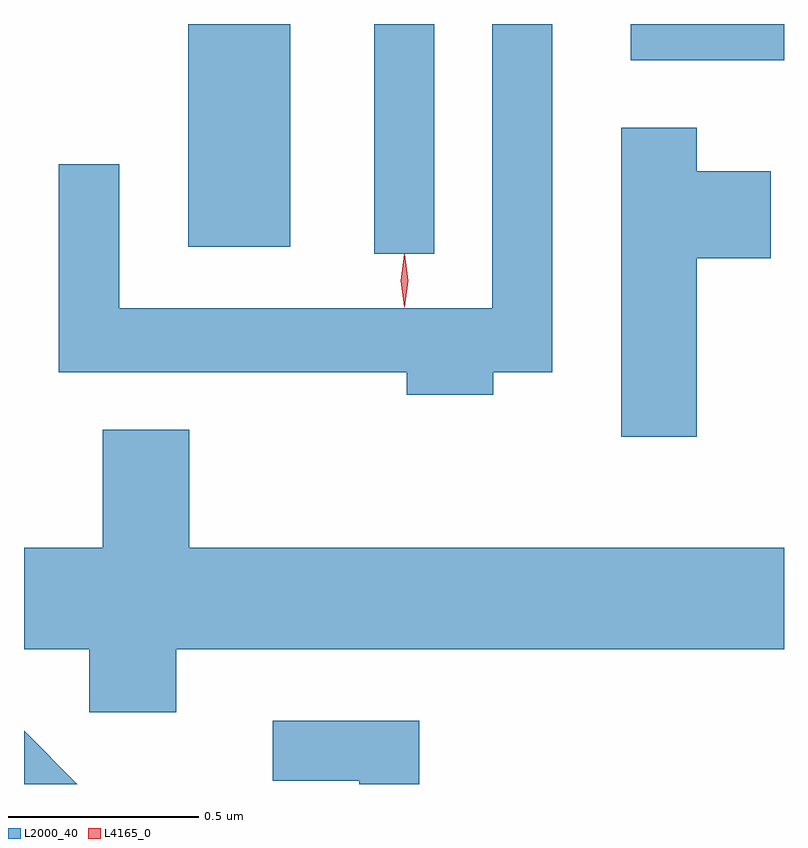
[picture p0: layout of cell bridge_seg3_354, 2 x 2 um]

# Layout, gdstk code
import gdstk
lib = gdstk.Library(unit=1e-6, precision=1e-09)
def R(c, l, rs):  # rectangles x0, y0, x1, y1
    for r in rs: c.add(gdstk.rectangle(r[:2], r[2:], *l))
def P(c, l, *ps):  # polygons
    for p in ps: c.add(gdstk.Polygon(p, *l))
L2000_40 = (2000, 40)
L4165_0 = (4165, 0)

bridge_seg3_354 = lib.new_cell('bridge_seg3_354')
R(bridge_seg3_354, L2000_40, [(541.356,1127.058,541.514,1127.662), (540.866,1127.076,541.134,1127.662), (542.031,1127.566,542.434,1127.662)])
P(bridge_seg3_354, L2000_40, [(541.669,1126.746),(541.824,1126.746),(541.824,1127.662),(541.666,1127.662),(541.666,1126.914),(540.684,1126.914),(540.684,1127.293),(540.526,1127.293),(540.526,1126.746),(541.441,1126.746),(541.441,1126.686),(541.669,1126.686)],
  [(542.204,1127.046),(542.399,1127.046),(542.399,1127.274),(542.204,1127.274),(542.204,1127.389),(542.006,1127.389),(542.006,1126.576),(542.204,1126.576)],
  [(540.834,1126.016),(542.434,1126.016),(542.434,1126.284),(540.869,1126.284),(540.869,1126.594),(540.641,1126.594),(540.641,1126.284),(540.434,1126.284),(540.434,1126.016),(540.606,1126.016),(540.606,1125.851),(540.834,1125.851)],
  [(541.474,1125.829),(541.088,1125.829),(541.088,1125.671),(541.316,1125.671),(541.316,1125.662),(541.474,1125.662)],
  [(540.434,1125.802),(540.434,1125.662),(540.574,1125.662)])
P(bridge_seg3_354, L4165_0, [(541.435,1126.919),(541.434,1126.92),(541.425,1126.986),(541.434,1127.052),(541.435,1127.053),(541.435,1127.052),(541.445,1126.986),(541.435,1126.92)],
  [(541.435,1126.917),(541.434,1126.918),(541.425,1126.986),(541.434,1127.056),(541.435,1127.056),(541.436,1127.056),(541.445,1126.986),(541.436,1126.918)])

lib.write_gds('bridge_seg3_354.gds')
